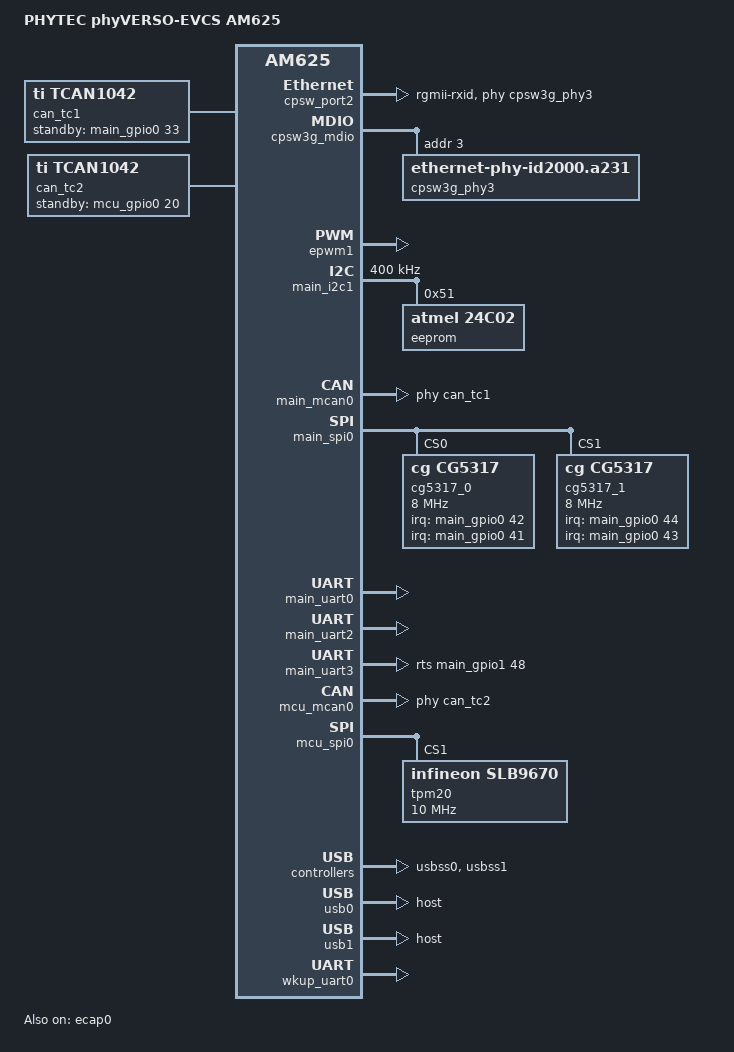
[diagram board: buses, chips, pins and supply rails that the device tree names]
// SPDX-License-Identifier: GPL-2.0-only OR MIT
/*
 * Copyright (C) 2026 PHYTEC Messtechnik GmbH
 * Author: Alexander Bauer <a.bauer@phytec.de>
 *
 * Product homepage:
 * https://www.phytec.de/ladeelektronik/komplettloesung/
 */

#include <dt-bindings/gpio/gpio.h>
#include <dt-bindings/leds/common.h>
#include <dt-bindings/net/ti-dp83867.h>
#include "k3-am625.dtsi"
#include "k3-am62-phycore-som.dtsi"

/ {
	compatible = "phytec,am625-phyverso-evcs",
		     "phytec,am62-phycore-som", "ti,am625";
	model = "PHYTEC phyVERSO-EVCS AM625";

	aliases {
		serial2 = &main_uart0;
		serial4 = &main_uart2;
		serial5 = &main_uart3;
		serial6 = &wkup_uart0;
		gpio2 = &mcu_gpio0;
		mmc2 = &sdhci2;
		usb0 = &usb0;
		usb1 = &usb1;
		ethernet1 = &cpsw_port2;
	};

	can_tc1: can-phy0 {
		compatible = "ti,tcan1042";
		#phy-cells = <0>;
		max-bitrate = <8000000>;
		standby-gpios = <&main_gpio0 33 GPIO_ACTIVE_HIGH>;
	};

	can_tc2: can-phy1 {
		compatible = "ti,tcan1042";
		#phy-cells = <0>;
		max-bitrate = <8000000>;
		standby-gpios = <&mcu_gpio0 20 GPIO_ACTIVE_HIGH>;
	};
};

&main_pmx0 {
	gpio_uart2_rts: gpio-uart2-rts-default-pins {
		pinctrl-single,pins = <
			AM62X_IOPAD(0x22c, PIN_OUTPUT, 7) /* (B21) MMC1_DAT1.GPIO1_44 */
		>;
	};

	gpio_msp_default: gpio-msp-default-pins {
		pinctrl-single,pins = <
			AM62X_IOPAD(0x1A4, PIN_OUTPUT, 7) /* (B20) MCASP0_ACLKX.GPIO1_11 */
			AM62X_IOPAD(0x1A8, PIN_OUTPUT, 7) /* (D20) MCASP0_AFSX.GPIO1_12 */
			AM62X_IOPAD(0x1d4, PIN_OUTPUT, 7) /* (B15) UART0_RTSn.GPIO1_23 */
		>;
	};

	gpio_lte_default: gpio-lte-default-pins {
		pinctrl-single,pins = <
			AM62X_IOPAD(0x07c, PIN_OUTPUT, 7) /* (P25) GPMC0_CLK.GPIO0_31 */
			AM62X_IOPAD(0x084, PIN_OUTPUT, 7) /* (L23) GPMC0_ADVn_ALE.GPIO0_32 */
		>;
	};

	gpio_phyverso_5v0_in: gpio-phyverso-5v0-in-default-pins {
		pinctrl-single,pins = <
			AM62X_IOPAD(0x094, PIN_INPUT, 7) /* (N20) GPMC0_BE1n.GPIO0_36 */
			AM62X_IOPAD(0x098, PIN_INPUT, 7) /* (U23) GPMC0_WAIT0.GPIO0_37 */
			AM62X_IOPAD(0x09c, PIN_INPUT, 7) /* (V25) GPMC0_WAIT1.GPIO0_38 */
			AM62X_IOPAD(0x0A0, PIN_INPUT, 7) /* (K25) GPMC0_WPn.GPIO0_39 */
			AM62X_IOPAD(0x044, PIN_INPUT, 7) /* (N24) GPMC0_AD2.GPIO0_17 */
		>;
	};

	gpio_phyverso_5v0_out: gpio-phyverso-5v0-out-default-pins {
		pinctrl-single,pins = <
			AM62X_IOPAD(0x048, PIN_OUTPUT, 7) /* (N25) GPMC0_AD3.GPIO0_18 */
			AM62X_IOPAD(0x04c, PIN_OUTPUT, 7) /* (P24) GPMC0_AD4.GPIO0_19 */
			AM62X_IOPAD(0x050, PIN_OUTPUT, 7) /* (P22) GPMC0_AD5.GPIO0_20 */
			AM62X_IOPAD(0x054, PIN_OUTPUT, 7) /* (P21) GPMC0_AD6.GPIO0_21 */
			AM62X_IOPAD(0x058, PIN_OUTPUT, 7) /* (R23) GPMC0_AD7.GPIO0_22 */
		>;
	};

	main_ecap_pins_default: main-ecap-default-pins {
		pinctrl-single,pins = <
			AM62X_IOPAD(0x0a4, PIN_OUTPUT, 1) /* (M22) GPMC0_DIR.PR0_ECAP0_IN_APWM_OUT */
		>;
	};

	main_i2c1_pins_default: main-i2c1-default-pins {
		pinctrl-single,pins = <
			AM62X_IOPAD(0x1e8, PIN_INPUT_PULLUP, 0) /* (B17) I2C1_SCL */
			AM62X_IOPAD(0x1ec, PIN_INPUT_PULLUP, 0) /* (A17) I2C1_SDA */
		>;
	};

	main_mcan0_pins_default: main-mcan0-default-pins {
		pinctrl-single,pins = <
			AM62X_IOPAD(0x1dc, PIN_INPUT, 0) /* (E15) MCAN0_RX */
			AM62X_IOPAD(0x1d8, PIN_OUTPUT, 0) /* (C15) MCAN0_TX */
			AM62X_IOPAD(0x88, PIN_OUTPUT, 7) /* (L24) GPMC0_OEn_REn.GPIO0_33 */
		>;
	};

	main_rgmii2_pins_default: main-rgmii2-default-pins {
		pinctrl-single,pins = <
			AM62X_IOPAD(0x184, PIN_INPUT, 0) /* (AE23) RGMII2_RD0 */
			AM62X_IOPAD(0x188, PIN_INPUT, 0) /* (AB20) RGMII2_RD1 */
			AM62X_IOPAD(0x18c, PIN_INPUT, 0) /* (AC21) RGMII2_RD2 */
			AM62X_IOPAD(0x190, PIN_INPUT, 0) /* (AE22) RGMII2_RD3 */
			AM62X_IOPAD(0x180, PIN_INPUT, 0) /* (AD23) RGMII2_RXC */
			AM62X_IOPAD(0x17c, PIN_INPUT, 0) /* (AD22) RGMII2_RX_CTL */
			AM62X_IOPAD(0x16c, PIN_OUTPUT, 0) /* (Y18) RGMII2_TD0 */
			AM62X_IOPAD(0x170, PIN_OUTPUT, 0) /* (AA18) RGMII2_TD1 */
			AM62X_IOPAD(0x174, PIN_OUTPUT, 0) /* (AD21) RGMII2_TD2 */
			AM62X_IOPAD(0x178, PIN_OUTPUT, 0) /* (AC20) RGMII2_TD3 */
			AM62X_IOPAD(0x168, PIN_OUTPUT, 0) /* (AE21) RGMII2_TXC */
			AM62X_IOPAD(0x164, PIN_OUTPUT, 0) /* (AA19) RGMII2_TX_CTL */
		>;
	};

	main_spi0_pins_default: main-spi0-default-pins {
		pinctrl-single,pins = <
			AM62X_IOPAD(0x1bc, PIN_INPUT, 0) /* (A14) SPI0_CLK.SPI0_CLK */
			AM62X_IOPAD(0x1c0, PIN_OUTPUT, 0) /* (B13) SPI0_D0.SPI0_D0 */
			AM62X_IOPAD(0x1c4, PIN_INPUT, 0) /* (B14) SPI0_D1.SPI0_D1 */
			AM62X_IOPAD(0x1b4, PIN_OUTPUT, 0) /* (A13) SPI0_CS0.SPI0_CS0 */
			AM62X_IOPAD(0x1b8, PIN_OUTPUT, 0) /* (C13) SPI0_CS1.SPI0_CS1 */
			AM62X_IOPAD(0xA8, PIN_INPUT, 7) /* (M21) GPMC0_CSn0.GPIO0_41 */
			AM62X_IOPAD(0xAC, PIN_INPUT, 7) /* (L21) GPMC0_CSn0.GPIO0_42 */
			AM62X_IOPAD(0xB0, PIN_INPUT, 7) /* (M21) GPMC0_CSn2.GPIO0_43 */
			AM62X_IOPAD(0xB4, PIN_INPUT, 7) /* (L21) GPMC0_CSn3.GPIO0_44 */
			AM62X_IOPAD(0x1F0, PIN_OUTPUT, 7) /* (A18) EXT_REFCLK1.GPIO1_30 */
		>;
	};

	main_uart0_pins_default: main-uart0-default-pins {
		pinctrl-single,pins = <
			AM62X_IOPAD(0x1c8, PIN_INPUT, 0) /* (D14) UART0_RXD */
			AM62X_IOPAD(0x1cc, PIN_OUTPUT, 0) /* (E14) UART0_TXD */
		>;
	};

	main_uart2_pins_default: main-uart2-default-pins {
		pinctrl-single,pins = <
			AM62X_IOPAD(0x224, PIN_INPUT_PULLUP, 3) /* (D22) MMC1_DAT3.UART2_RXD */
			AM62X_IOPAD(0x228, PIN_OUTPUT, 3) /* (C21) MMC1_DAT2.UART2_TXD */
		>;
	};

	main_uart3_pins_default: main-uart3-default-pins {
		pinctrl-single,pins = <
			AM62X_IOPAD(0x240, PIN_OUTPUT, 7) /* (D17) MMC1_SDCD.UART3_RTSn */
			AM62X_IOPAD(0x234, PIN_INPUT_PULLUP, 3) /* (B22) MMC1_CLK.UART3_RXD */
			AM62X_IOPAD(0x23C, PIN_OUTPUT, 3) /* (A21) MMC1_CMD.UART3_TXD */
		>;
	};

	main_usb0_pins_default: main-usb0-default-pins {
		pinctrl-single,pins = <
			AM64X_IOPAD(0x0254, PIN_OUTPUT, 0) /* (C20) USB0_DRVVBUS */
		>;
	};

	main_usb1_pins_default: main-usb1-default-pins {
		pinctrl-single,pins = <
			AM62X_IOPAD(0x258, PIN_OUTPUT, 0) /* (F18) USB1_DRVVBUS */
		>;
	};
};

&mcu_pmx0 {
	mcu_mcan0_pins_default: mcu-mcan0-default-pins {
		pinctrl-single,pins = <
			AM62X_MCU_IOPAD(0x38, PIN_INPUT, 0) /* (E15) MCAN0_RX */
			AM62X_MCU_IOPAD(0x34, PIN_OUTPUT, 0) /* (C15) MCAN0_TX */
			AM62X_MCU_IOPAD(0x50, PIN_INPUT, 7) /* (A9) WKUP_I2C0_SDA.MCU_GPIO0_20 */
		>;
	};

	mcu_spi0_pins_default: mcu-spi0-default-pins {
		pinctrl-single,pins = <
			AM62X_MCU_IOPAD(0x008, PIN_OUTPUT, 0) /* (A7) MCU_SPI0_CLK.MCU_SPI0_CLK */
			AM62X_MCU_IOPAD(0x00c, PIN_OUTPUT, 0) /* (D9) MCU_SPI0_D0.MCU_SPI0_D0 */
			AM62X_MCU_IOPAD(0x010, PIN_INPUT, 0) /* (C9) MCU_SPI0_D1.MCU_SPI0_D1 */
			AM62X_MCU_IOPAD(0x004, PIN_OUTPUT, 0) /* (B8) MCU_SPI0_CS1.MCU_SPI0_CS1 */
			AM62X_MCU_IOPAD(0x04C, PIN_INPUT, 7) /* (B9) WKUP_I2C0_SCL.GPIO0_19 */
		>;
	};

	wkup_uart0_pins_default: wkup-uart0-default-pins {
		pinctrl-single,pins = <
			AM62X_MCU_IOPAD(0x0024, PIN_INPUT, 0) /* (B4) WKUP_UART0_RXD */
			AM62X_MCU_IOPAD(0x0028, PIN_OUTPUT, 0) /* (C5) WKUP_UART0_TXD */
		>;
	};
};

&cpsw3g {
	pinctrl-names = "default";
	pinctrl-0 = <&main_rgmii1_pins_default>, <&main_rgmii2_pins_default>;
};

&cpsw_port2 {
	phy-mode = "rgmii-rxid";
	phy-handle = <&cpsw3g_phy3>;
};

&cpsw3g_mdio {
	cpsw3g_phy3: ethernet-phy@3 {
		compatible = "ethernet-phy-id2000.a231", "ethernet-phy-ieee802.3-c22";
		reg = <3>;
		ti,clk-output-sel = <DP83867_CLK_O_SEL_OFF>;
		ti,rx-internal-delay = <DP83867_RGMIIDCTL_2_00_NS>;
		ti,fifo-depth = <DP83867_PHYCR_FIFO_DEPTH_4_B_NIB>;
	};
};

&ecap0 {
	pinctrl-names = "default";
	pinctrl-0 = <&main_ecap_pins_default>;
	status = "okay";
};

&epwm1 {
	status = "okay";
};

&main_gpio0 {
	pinctrl-names = "default";
	pinctrl-0 = <&gpio_lte_default>, <&gpio_phyverso_5v0_out>,
		    <&gpio_phyverso_5v0_in>;
	gpio-line-names = "", "", "", "", "", "", "", "", \
			  "", "", "", "", "", "", "", "", \
			  "", "5Vin1", "5Vout1", "5Vout2", "5Vout3", "5Vout4", "5Vout5", "", \
			  "", "", "", "", "", "", "", "LTE_OFF", \
			  "LTE_RESET", "", "", "", "EMERGENCY_CON1", "EMERGENCY_CON2", \
			  "5Vin4", "5Vin5";
};

&main_gpio1 {
	pinctrl-names = "default";
	pinctrl-0 = <&gpio_msp_default>, <&gpio_uart2_rts>;
	gpio-line-names = "", "", "", "", "", "", "", "", \
			  "", "", "", "MSP_OE", "MSP_BSL", "", "", "", \
			  "", "", "", "", "", "", "", "MSP_RST", \
			  "", "", "", "", "", "", "", "", \
			  "", "", "", "", "", "", "", "", \
			  "", "", "", "", "UART2_RTS", "", "", "";
};

&main_i2c1 {
	pinctrl-names = "default";
	pinctrl-0 = <&main_i2c1_pins_default>;
	clock-frequency = <400000>;
	status = "okay";

	eeprom@51 {
		compatible = "atmel,24c02";
		pagesize = <16>;
		reg = <0x51>;
	};
};

&main_mcan0 {
	pinctrl-names = "default";
	pinctrl-0 = <&main_mcan0_pins_default>;
	phys = <&can_tc1>;
	status = "okay";
};

&main_spi0 {
	pinctrl-names = "default";
	pinctrl-0 = <&main_spi0_pins_default>;
	ti,spi-num-cs = <2>;
	ti,pindir-d0-out-d1-in;
	status = "okay";

	cg5317_0: ethernet@0 {
		compatible = "cg,cg5317";
		reg = <0x0>;
		interrupts-extended = <&main_gpio0 42 IRQ_TYPE_EDGE_RISING>,
				      <&main_gpio0 41 IRQ_TYPE_EDGE_RISING>;
		interrupt-names = "gp_irq", "rx_irq";
		spi-cpha;
		spi-max-frequency = <8000000>;
	};

	cg5317_1: ethernet@1 {
		compatible = "cg,cg5317";
		reg = <1>;
		interrupts-extended = <&main_gpio0 44 IRQ_TYPE_EDGE_RISING>,
				      <&main_gpio0 43 IRQ_TYPE_EDGE_RISING>;
		interrupt-names = "gp_irq", "rx_irq";
		spi-cpha;
		spi-max-frequency = <8000000>;
	};
};

&main_uart0 {
	pinctrl-names = "default";
	pinctrl-0 = <&main_uart0_pins_default>;
	status = "okay";
};

&main_uart2 {
	pinctrl-names = "default";
	pinctrl-0 = <&main_uart2_pins_default>;
	linux,rs485-enabled-at-boot-time;
	status = "okay";
};

&main_uart3 {
	pinctrl-names = "default";
	pinctrl-0 = <&main_uart3_pins_default>;
	linux,rs485-enabled-at-boot-time;
	rts-gpios = <&main_gpio1 48 GPIO_ACTIVE_HIGH>;
	status = "okay";
};

&mcu_mcan0 {
	pinctrl-names = "default";
	pinctrl-0 = <&mcu_mcan0_pins_default>;
	phys = <&can_tc2>;
	status = "okay";
};

&mcu_gpio0 {
	status = "okay";
};

&mcu_spi0 {
	pinctrl-names = "default";
	pinctrl-0 = <&mcu_spi0_pins_default>;
	ti,spi-num-cs = <2>;
	ti,pindir-d0-out-d1-in;
	status = "okay";

	tpm20@1 {
		compatible = "infineon,slb9670";
		reg = <1>;
		spi-max-frequency = <10000000>;
	};
};

&i2c_som_rtc {
	enable-level-switching-mode;
	trickle-resistor-ohms = <3000>;
};

&usbss0 {
	ti,vbus-divider;
	status = "okay";
};

&usbss1 {
	ti,vbus-divider;
	status = "okay";
};

&usb0 {
	pinctrl-names = "default";
	dr_mode = "host";
	pinctrl-0 = <&main_usb0_pins_default>;
	status = "okay";
};

&usb1 {
	pinctrl-names = "default";
	dr_mode = "host";
	pinctrl-0 = <&main_usb1_pins_default>;
	status = "okay";
};

&wkup_uart0 {
	pinctrl-names = "default";
	pinctrl-0 = <&wkup_uart0_pins_default>;
	status = "okay";
};
